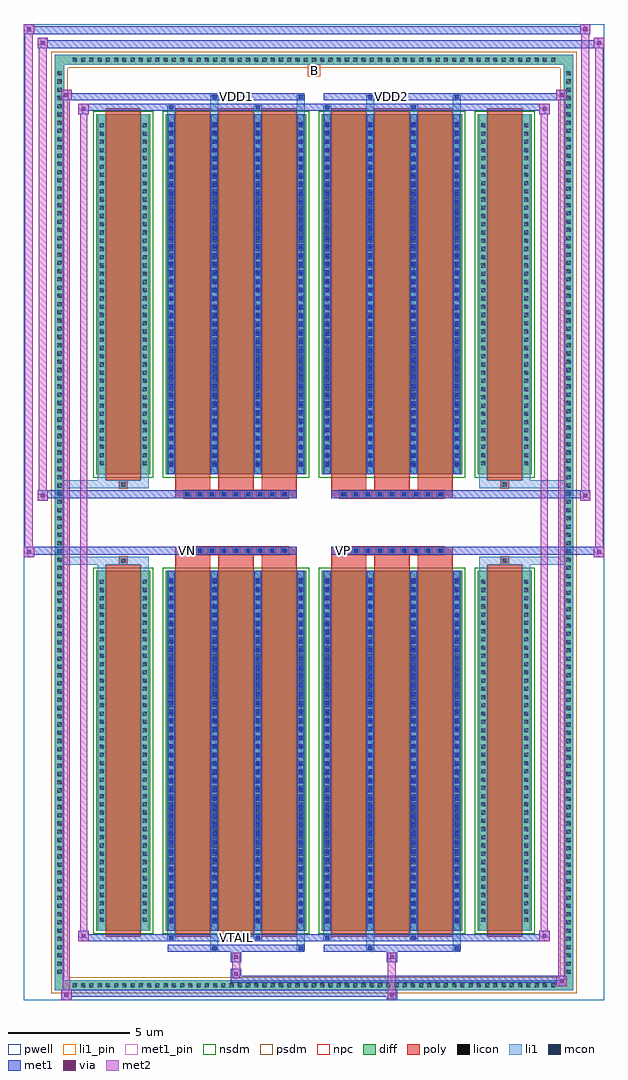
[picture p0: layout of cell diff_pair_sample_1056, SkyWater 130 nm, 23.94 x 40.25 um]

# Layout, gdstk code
import gdstk
lib = gdstk.Library(unit=1e-6, precision=5e-09)
def R(c, l, rs):  # rectangles x0, y0, x1, y1
    for r in rs: c.add(gdstk.rectangle(r[:2], r[2:], *l))
def A(c, l, x, y, w, h, nx, ny, dx, dy):  # array of equal rectangles
    R(c, l, [(x+i*dx, y+j*dy, x+i*dx+w, y+j*dy+h) for i in range(nx) for j in range(ny)])
def P(c, l, *ps):  # polygons
    for p in ps: c.add(gdstk.Polygon(p, *l))
pwell = (64, 44)
diff = (65, 20)
poly = (66, 20)
licon = (66, 44)
li1_pin = (67, 16)
li1 = (67, 20)
mcon = (67, 44)
met1_pin = (68, 16)
met1 = (68, 20)
via = (68, 44)
met2 = (69, 20)
nsdm = (93, 44)
psdm = (94, 20)
npc = (95, 20)

diff_pair_sample_1056 = lib.new_cell('diff_pair_sample_1056')
R(diff_pair_sample_1056, pwell, [(-11.97,-19.69,11.97,20.56), (-9.29,-17.88,-0.01,-0.8), (0.01,-17.88,9.29,-0.8), (-9.29,0.8,-0.01,17.88), (0.01,0.8,9.29,17.88)])
A(diff_pair_sample_1056, diff, -10.065, -19.29, 0.41, 0.41, 59, 2, 0.34, 38.17)
A(diff_pair_sample_1056, diff, -10.7, -18.735, 0.41, 0.41, 1, 110, 0, 0.34)
A(diff_pair_sample_1056, diff, 10.29, -18.735, 0.41, 0.41, 1, 110, 0, 0.34)
R(diff_pair_sample_1056, diff, [(-10.065,-19.29,10.065,-18.88), (-10.7,-18.735,-10.29,18.735), (10.29,-18.735,10.7,18.735), (-8.98,-16.835,-6.75,-1.985), (-6.11,-16.835,-0.32,-1.985), (0.32,-16.835,6.11,-1.985), (6.75,-16.835,8.98,-1.985), (-8.98,1.985,-6.75,16.835), (-6.11,1.985,-0.32,16.835), (0.32,1.985,6.11,16.835), (6.75,1.985,8.98,16.835), (-10.065,18.88,10.065,19.29)])
P(diff_pair_sample_1056, diff, [(10.7,19.29),(-10.7,19.29),(-10.7,-18.88),(-10.29,-18.88),(-10.29,18.88),(10.29,18.88),(10.29,-18.88),(-10.29,-18.88),(-10.7,-18.88),(-10.7,-19.29),(10.7,-19.29)])
A(diff_pair_sample_1056, poly, -5.72, -17.085, 1.45, 15.35, 3, 2, 1.78, 18.82)
A(diff_pair_sample_1056, poly, 0.71, -17.085, 1.45, 15.35, 3, 2, 1.78, 18.82)
A(diff_pair_sample_1056, poly, -5.72, -1.735, 1.45, 0.405, 3, 2, 1.78, 3.065)
A(diff_pair_sample_1056, poly, 0.71, -1.735, 1.45, 0.405, 3, 2, 1.78, 3.065)
A(diff_pair_sample_1056, poly, -5.38, -1.33, 0.33, 0.33, 9, 2, 0.5, 2.33)
A(diff_pair_sample_1056, poly, 1.05, -1.33, 0.33, 0.33, 9, 2, 0.5, 2.33)
R(diff_pair_sample_1056, poly, [(-8.59,-17.085,-7.14,-1.735), (7.14,-17.085,8.59,-1.735), (-8.03,-1.735,-7.7,-1.405), (-8.03,-1.735,-7.7,-1.405), (7.7,-1.735,8.03,-1.405), (7.7,-1.735,8.03,-1.405), (-5.72,-1.33,-0.71,-1), (0.71,-1.33,5.72,-1), (-5.72,1,-0.71,1.33), (0.71,1,5.72,1.33), (-8.03,1.405,-7.7,1.735), (-8.03,1.405,-7.7,1.735), (7.7,1.405,8.03,1.735), (7.7,1.405,8.03,1.735), (-8.59,1.735,-7.14,17.085), (7.14,1.735,8.59,17.085)])
A(diff_pair_sample_1056, licon, -9.945, -19.17, 0.17, 0.17, 59, 2, 0.34, 38.17)
A(diff_pair_sample_1056, licon, -10.58, -18.615, 0.17, 0.17, 1, 110, 0, 0.34)
A(diff_pair_sample_1056, licon, 10.41, -18.615, 0.17, 0.17, 1, 110, 0, 0.34)
A(diff_pair_sample_1056, licon, -8.84, -16.465, 0.17, 0.17, 1, 42, 0, 0.34)
A(diff_pair_sample_1056, licon, -7.06, -16.465, 0.17, 0.17, 1, 42, 0, 0.34)
A(diff_pair_sample_1056, licon, -5.97, -16.465, 0.17, 0.17, 4, 42, 1.78, 0.34)
A(diff_pair_sample_1056, licon, 0.46, -16.465, 0.17, 0.17, 4, 42, 1.78, 0.34)
A(diff_pair_sample_1056, licon, 6.89, -16.465, 0.17, 0.17, 1, 42, 0, 0.34)
A(diff_pair_sample_1056, licon, 8.67, -16.465, 0.17, 0.17, 1, 42, 0, 0.34)
A(diff_pair_sample_1056, licon, -5.3, -1.25, 0.17, 0.17, 9, 2, 0.5, 2.33)
A(diff_pair_sample_1056, licon, 1.13, -1.25, 0.17, 0.17, 9, 2, 0.5, 2.33)
A(diff_pair_sample_1056, licon, -8.84, 2.355, 0.17, 0.17, 1, 42, 0, 0.34)
A(diff_pair_sample_1056, licon, -7.06, 2.355, 0.17, 0.17, 1, 42, 0, 0.34)
A(diff_pair_sample_1056, licon, -5.97, 2.355, 0.17, 0.17, 4, 42, 1.78, 0.34)
A(diff_pair_sample_1056, licon, 0.46, 2.355, 0.17, 0.17, 4, 42, 1.78, 0.34)
A(diff_pair_sample_1056, licon, 6.89, 2.355, 0.17, 0.17, 1, 42, 0, 0.34)
A(diff_pair_sample_1056, licon, 8.67, 2.355, 0.17, 0.17, 1, 42, 0, 0.34)
R(diff_pair_sample_1056, licon, [(-7.95,-1.655,-7.78,-1.485), (7.78,-1.655,7.95,-1.485), (-7.95,1.485,-7.78,1.655), (7.78,1.485,7.95,1.655)])
R(diff_pair_sample_1056, li1_pin, [(-0.25,18.38,0.25,18.88)])
A(diff_pair_sample_1056, li1, -10.025, -19.25, 0.33, 0.33, 59, 2, 0.34, 38.17)
A(diff_pair_sample_1056, li1, -10.66, -18.695, 0.33, 0.33, 1, 110, 0, 0.34)
A(diff_pair_sample_1056, li1, 10.33, -18.695, 0.33, 0.33, 1, 110, 0, 0.34)
A(diff_pair_sample_1056, li1, -6.05, -16.835, 0.33, 14.85, 4, 2, 1.78, 18.82)
A(diff_pair_sample_1056, li1, 0.38, -16.835, 0.33, 14.85, 4, 2, 1.78, 18.82)
A(diff_pair_sample_1056, li1, -8.92, -16.545, 0.33, 0.33, 1, 42, 0, 0.34)
A(diff_pair_sample_1056, li1, -7.14, -16.545, 0.33, 0.33, 1, 42, 0, 0.34)
A(diff_pair_sample_1056, li1, -6.05, -16.545, 0.33, 0.33, 4, 42, 1.78, 0.34)
A(diff_pair_sample_1056, li1, 0.38, -16.545, 0.33, 0.33, 4, 42, 1.78, 0.34)
A(diff_pair_sample_1056, li1, 6.81, -16.545, 0.33, 0.33, 1, 42, 0, 0.34)
A(diff_pair_sample_1056, li1, 8.59, -16.545, 0.33, 0.33, 1, 42, 0, 0.34)
A(diff_pair_sample_1056, li1, -5.97, -16.515, 0.17, 0.17, 4, 40, 1.78, 0.36)
A(diff_pair_sample_1056, li1, -5.97, -16.515, 0.17, 14.21, 4, 2, 1.78, 18.82)
A(diff_pair_sample_1056, li1, 0.46, -16.515, 0.17, 0.17, 4, 40, 1.78, 0.36)
A(diff_pair_sample_1056, li1, 0.46, -16.515, 0.17, 14.21, 4, 2, 1.78, 18.82)
A(diff_pair_sample_1056, li1, -5.38, -1.33, 0.33, 0.33, 9, 2, 0.5, 2.33)
A(diff_pair_sample_1056, li1, 1.05, -1.33, 0.33, 0.33, 9, 2, 0.5, 2.33)
A(diff_pair_sample_1056, li1, -8.92, 2.275, 0.33, 0.33, 1, 42, 0, 0.34)
A(diff_pair_sample_1056, li1, -7.14, 2.275, 0.33, 0.33, 1, 42, 0, 0.34)
A(diff_pair_sample_1056, li1, -6.05, 2.275, 0.33, 0.33, 4, 42, 1.78, 0.34)
A(diff_pair_sample_1056, li1, 0.38, 2.275, 0.33, 0.33, 4, 42, 1.78, 0.34)
A(diff_pair_sample_1056, li1, 6.81, 2.275, 0.33, 0.33, 1, 42, 0, 0.34)
A(diff_pair_sample_1056, li1, 8.59, 2.275, 0.33, 0.33, 1, 42, 0, 0.34)
A(diff_pair_sample_1056, li1, -5.97, 2.305, 0.17, 0.17, 4, 40, 1.78, 0.36)
A(diff_pair_sample_1056, li1, 0.46, 2.305, 0.17, 0.17, 4, 40, 1.78, 0.36)
R(diff_pair_sample_1056, li1, [(-10.7,-19.29,-10.29,-18.88), (-10.7,-19.29,-10.29,-18.88), (-10.29,-19.29,10.29,-18.88), (10.29,-19.29,10.7,-18.88), (10.29,-19.29,10.7,-18.88), (-10.7,-18.88,-10.29,18.88), (10.29,-18.88,10.7,18.88), (-4.27,-17.64,-3.94,-16.835), (-4.19,-17.64,-4.02,-17.47), (-0.71,-17.64,-0.38,-16.835), (-0.63,-17.64,-0.46,-17.47), (2.16,-17.64,2.49,-16.835), (2.24,-17.64,2.41,-17.47), (5.72,-17.64,6.05,-16.835), (5.8,-17.64,5.97,-17.47), (-6.05,-17.21,-5.72,-16.835), (-5.97,-17.21,-5.8,-17.04), (-2.49,-17.21,-2.16,-16.835), (-2.41,-17.21,-2.24,-17.04), (0.38,-17.21,0.71,-16.835), (0.46,-17.21,0.63,-17.04), (3.94,-17.21,4.27,-16.835), (4.02,-17.21,4.19,-17.04), (-8.92,-16.835,-8.59,-1.985), (-7.14,-16.835,-6.81,-1.985), (6.81,-16.835,7.14,-1.985), (8.59,-16.835,8.92,-1.985), (-8.92,-1.985,-8.59,-1.405), (-7.14,-1.985,-6.81,-1.405), (6.81,-1.985,7.14,-1.405), (8.59,-1.985,8.92,-1.405), (-10.7,-1.735,-8.03,-1.405), (-8.92,-1.735,-8.03,-1.405), (-8.03,-1.735,-7.7,-1.405), (-7.7,-1.735,-6.81,-1.405), (6.81,-1.735,7.7,-1.405), (7.7,-1.735,8.03,-1.405), (7.7,-1.735,10.7,-1.405), (8.03,-1.735,8.92,-1.405), (-10.7,1.405,-8.03,1.735), (-8.92,1.405,-8.03,1.735), (-8.92,1.405,-8.59,1.985), (-8.03,1.405,-7.7,1.735), (-7.7,1.405,-6.81,1.735), (-7.14,1.405,-6.81,1.985), (6.81,1.405,7.7,1.735), (6.81,1.405,7.14,1.985), (7.7,1.405,8.03,1.735), (7.7,1.405,10.7,1.735), (8.03,1.405,8.92,1.735), (8.59,1.405,8.92,1.985), (-8.92,1.985,-8.59,16.835), (-7.14,1.985,-6.81,16.835), (6.81,1.985,7.14,16.835), (8.59,1.985,8.92,16.835), (-6.05,16.835,-5.72,17.21), (-4.27,16.835,-3.94,17.64), (-2.49,16.835,-2.16,17.21), (-0.71,16.835,-0.38,17.64), (0.38,16.835,0.71,17.21), (2.16,16.835,2.49,17.64), (3.94,16.835,4.27,17.21), (5.72,16.835,6.05,17.64), (-5.97,17.04,-5.8,17.21), (-2.41,17.04,-2.24,17.21), (0.46,17.04,0.63,17.21), (4.02,17.04,4.19,17.21), (-4.19,17.47,-4.02,17.64), (-0.63,17.47,-0.46,17.64), (2.24,17.47,2.41,17.64), (5.8,17.47,5.97,17.64), (-10.7,18.88,-10.29,19.29), (-10.7,18.88,-10.29,19.29), (-10.29,18.88,10.29,19.29), (10.29,18.88,10.7,19.29), (10.29,18.88,10.7,19.29)])
A(diff_pair_sample_1056, mcon, -5.97, -16.515, 0.17, 0.17, 4, 40, 1.78, 0.36)
A(diff_pair_sample_1056, mcon, 0.46, -16.515, 0.17, 0.17, 4, 40, 1.78, 0.36)
A(diff_pair_sample_1056, mcon, -5.3, -1.25, 0.17, 0.17, 9, 2, 0.5, 2.33)
A(diff_pair_sample_1056, mcon, 1.13, -1.25, 0.17, 0.17, 9, 2, 0.5, 2.33)
A(diff_pair_sample_1056, mcon, -5.97, 2.305, 0.17, 0.17, 4, 40, 1.78, 0.36)
A(diff_pair_sample_1056, mcon, 0.46, 2.305, 0.17, 0.17, 4, 40, 1.78, 0.36)
R(diff_pair_sample_1056, mcon, [(-4.19,-17.64,-4.02,-17.47), (-0.63,-17.64,-0.46,-17.47), (2.24,-17.64,2.41,-17.47), (5.8,-17.64,5.97,-17.47), (-5.97,-17.21,-5.8,-17.04), (-2.41,-17.21,-2.24,-17.04), (0.46,-17.21,0.63,-17.04), (4.02,-17.21,4.19,-17.04), (-5.97,17.04,-5.8,17.21), (-2.41,17.04,-2.24,17.21), (0.46,17.04,0.63,17.21), (4.02,17.04,4.19,17.21), (-4.19,17.47,-4.02,17.64), (-0.63,17.47,-0.46,17.64), (2.24,17.47,2.41,17.64), (5.8,17.47,5.97,17.64)])
R(diff_pair_sample_1056, met1_pin, [(-3.35,-17.25,-3.08,-16.98), (-5.35,-1.29,-5.08,-1.02), (1.08,-1.29,1.35,-1.02), (-3.35,17.43,-3.08,17.7), (3.08,17.43,3.35,17.7)])
A(diff_pair_sample_1056, met1, -6.03, -16.835, 0.29, 14.85, 4, 2, 1.78, 18.82)
A(diff_pair_sample_1056, met1, 0.4, -16.835, 0.29, 14.85, 4, 2, 1.78, 18.82)
A(diff_pair_sample_1056, met1, -6.03, -16.575, 0.29, 0.29, 4, 40, 1.78, 0.36)
A(diff_pair_sample_1056, met1, 0.4, -16.575, 0.29, 0.29, 4, 40, 1.78, 0.36)
A(diff_pair_sample_1056, met1, -5.36, -1.31, 0.29, 0.29, 9, 2, 0.5, 2.33)
A(diff_pair_sample_1056, met1, 1.07, -1.31, 0.29, 0.29, 9, 2, 0.5, 2.33)
A(diff_pair_sample_1056, met1, -6.03, 2.245, 0.29, 0.29, 4, 40, 1.78, 0.36)
A(diff_pair_sample_1056, met1, 0.4, 2.245, 0.29, 0.29, 4, 40, 1.78, 0.36)
R(diff_pair_sample_1056, met1, [(-10.43,-19.69,-10,-19.26), (3,-19.69,3.43,-19.26), (-10.43,-19.55,3.43,-19.26), (10,-19.12,10.43,-18.69), (-3.43,-18.98,10.43,-18.69), (-3.43,-18.84,-3,-18.41), (-3.43,-18.13,-3,-17.7), (3,-18.13,3.43,-17.7), (-6.03,-17.7,-0.4,-17.41), (-4.25,-17.7,-3.96,-17.41), (-0.69,-17.7,-0.4,-17.41), (0.4,-17.7,6.03,-17.41), (2.18,-17.7,2.47,-17.41), (5.74,-17.7,6.03,-17.41), (-9.72,-17.27,-9.29,-16.84), (-9.72,-17.27,-6.03,-16.98), (-6.03,-17.27,-5.74,-16.98), (-6.03,-17.27,-0.4,-16.98), (-2.47,-17.27,-2.18,-16.98), (-0.4,-17.27,0.4,-16.98), (0.4,-17.27,0.69,-16.98), (0.4,-17.27,6.03,-16.98), (3.96,-17.27,4.25,-16.98), (6.03,-17.27,9.72,-16.98), (9.29,-17.27,9.72,-16.84), (-11.97,-1.43,-11.54,-1), (11.54,-1.43,11.97,-1), (-11.97,-1.33,-0.71,-1), (-5.72,-1.33,-0.71,-1), (0.71,-1.33,5.72,-1), (0.71,-1.33,11.97,-1), (-11.4,0.9,-10.97,1.33), (10.97,0.9,11.4,1.33), (-11.4,1,-5.72,1.33), (-5.72,1,-0.71,1.33), (0.71,1,5.72,1.33), (5.72,1,11.4,1.33), (-9.72,16.84,-9.29,17.27), (9.29,16.84,9.72,17.27), (-9.72,16.98,-6.03,17.27), (-6.03,16.98,-5.74,17.27), (-6.03,16.98,-0.4,17.27), (-2.47,16.98,-2.18,17.27), (-0.4,16.98,0.4,17.27), (0.4,16.98,0.69,17.27), (0.4,16.98,6.03,17.27), (3.96,16.98,4.25,17.27), (6.03,16.98,9.72,17.27), (-10.43,17.41,-10,17.84), (-10.43,17.41,-6.03,17.7), (-6.03,17.41,-0.4,17.7), (-4.25,17.41,-3.96,17.7), (-0.69,17.41,-0.4,17.7), (0.4,17.41,6.03,17.7), (2.18,17.41,2.47,17.7), (5.74,17.41,6.03,17.7), (6.03,17.41,10.43,17.7), (10,17.41,10.43,17.84), (-11.4,19.56,-10.97,19.99), (-11.4,19.56,-9.29,19.89), (-9.29,19.56,9.29,19.89), (9.29,19.56,11.97,19.89), (11.54,19.56,11.97,19.99), (-11.97,20.13,-11.54,20.56), (-11.97,20.13,-9.29,20.46), (-9.29,20.13,9.29,20.46), (9.29,20.13,11.4,20.46), (10.97,20.13,11.4,20.56)])
R(diff_pair_sample_1056, via, [(-10.29,-19.55,-10.14,-19.4), (3.14,-19.55,3.29,-19.4), (10.14,-18.98,10.29,-18.83), (-3.29,-18.7,-3.14,-18.55), (-3.29,-17.99,-3.14,-17.84), (3.14,-17.99,3.29,-17.84), (-9.58,-17.13,-9.43,-16.98), (9.43,-17.13,9.58,-16.98), (-11.83,-1.29,-11.68,-1.14), (11.68,-1.29,11.83,-1.14), (-11.26,1.04,-11.11,1.19), (11.11,1.04,11.26,1.19), (-9.58,16.98,-9.43,17.13), (9.43,16.98,9.58,17.13), (-10.29,17.55,-10.14,17.7), (10.14,17.55,10.29,17.7), (-11.26,19.7,-11.11,19.85), (11.68,19.7,11.83,19.85), (-11.83,20.27,-11.68,20.42), (11.11,20.27,11.26,20.42)])
R(diff_pair_sample_1056, met2, [(-10.43,-19.69,-10,-19.26), (-10.36,-19.69,-10.07,17.84), (-10.07,-19.69,-10,-19.26), (-10.38,-19.64,-10.05,-19.31), (3.05,-19.64,3.38,-19.31), (3.05,-19.31,3.38,-18.08), (10,-19.12,10.43,-18.69), (10.07,-19.12,10.36,17.84), (10.36,-19.12,10.43,-18.69), (10.05,-19.07,10.38,-18.74), (-3.38,-18.79,-3.05,-18.46), (-3.38,-18.46,-3.05,-18.08), (-3.38,-18.08,-3.05,-17.75), (3.05,-18.08,3.38,-17.75), (-9.72,-17.27,-9.29,-16.84), (-9.65,-17.27,-9.36,17.27), (-9.36,-17.27,-9.29,-16.84), (9.29,-17.27,9.72,-16.84), (9.36,-17.27,9.65,17.27), (9.65,-17.27,9.72,-16.84), (-9.67,-17.22,-9.34,-16.89), (9.34,-17.22,9.67,-16.89), (-11.97,-1.43,-11.54,-1), (-11.92,-1.43,-11.59,20.56), (-11.59,-1.43,-11.54,-1), (11.54,-1.43,11.97,-1), (11.59,-1.43,11.92,19.99), (11.92,-1.43,11.97,-1), (-11.92,-1.38,-11.59,-1.05), (11.59,-1.38,11.92,-1.05), (-11.4,0.9,-10.97,1.33), (-11.35,0.9,-11.02,19.99), (-11.02,0.9,-10.97,1.33), (10.97,0.9,11.4,1.33), (11.02,0.9,11.35,20.56), (11.35,0.9,11.4,1.33), (-11.35,0.95,-11.02,1.28), (11.02,0.95,11.35,1.28), (-9.72,16.84,-9.29,17.27), (-9.36,16.84,-9.29,17.27), (9.29,16.84,9.72,17.27), (9.65,16.84,9.72,17.27), (-9.67,16.89,-9.34,17.22), (9.34,16.89,9.67,17.22), (-10.43,17.41,-10,17.84), (-10.07,17.41,-10,17.84), (10,17.41,10.43,17.84), (10.36,17.41,10.43,17.84), (-10.38,17.46,-10.05,17.79), (10.05,17.46,10.38,17.79), (-11.4,19.56,-10.97,19.99), (-11.02,19.56,-10.97,19.99), (11.54,19.56,11.97,19.99), (11.92,19.56,11.97,19.99), (-11.35,19.61,-11.02,19.94), (11.59,19.61,11.92,19.94), (-11.97,20.13,-11.54,20.56), (-11.59,20.13,-11.54,20.56), (10.97,20.13,11.4,20.56), (11.35,20.13,11.4,20.56), (-11.92,20.18,-11.59,20.51), (11.02,20.18,11.35,20.51)])
R(diff_pair_sample_1056, nsdm, [(-9.11,-16.965,-6.62,-1.855), (-6.24,-16.965,-0.19,-1.855), (0.19,-16.965,6.24,-1.855), (6.62,-16.965,9.11,-1.855), (-9.11,1.855,-6.62,16.965), (-6.24,1.855,-0.19,16.965), (0.19,1.855,6.24,16.965), (6.62,1.855,9.11,16.965)])
P(diff_pair_sample_1056, psdm, [(10.83,19.42),(-10.83,19.42),(-10.83,-18.75),(-10.16,-18.75),(-10.16,18.75),(10.16,18.75),(10.16,-18.75),(-10.16,-18.75),(-10.83,-18.75),(-10.83,-19.42),(10.83,-19.42)])
A(diff_pair_sample_1056, npc, -5.4, -1.35, 0.37, 0.37, 9, 2, 0.5, 2.33)
A(diff_pair_sample_1056, npc, 1.03, -1.35, 0.37, 0.37, 9, 2, 0.5, 2.33)
R(diff_pair_sample_1056, npc, [(-8.05,-1.755,-7.68,-1.385), (7.68,-1.755,8.05,-1.385), (-5.4,-1.35,-4.53,-0.98), (-5.4,-1.35,-4.53,-0.98), (-4.9,-1.35,-4.03,-0.98), (-4.9,-1.35,-4.03,-0.98), (-4.4,-1.35,-3.53,-0.98), (-4.4,-1.35,-3.53,-0.98), (-3.9,-1.35,-3.03,-0.98), (-3.9,-1.35,-3.03,-0.98), (-3.4,-1.35,-2.53,-0.98), (-3.4,-1.35,-2.53,-0.98), (-2.9,-1.35,-2.03,-0.98), (-2.9,-1.35,-2.03,-0.98), (-2.4,-1.35,-1.53,-0.98), (-2.4,-1.35,-1.53,-0.98), (-1.9,-1.35,-1.03,-0.98), (-1.9,-1.35,-1.03,-0.98), (1.03,-1.35,1.9,-0.98), (1.03,-1.35,1.9,-0.98), (1.53,-1.35,2.4,-0.98), (1.53,-1.35,2.4,-0.98), (2.03,-1.35,2.9,-0.98), (2.03,-1.35,2.9,-0.98), (2.53,-1.35,3.4,-0.98), (2.53,-1.35,3.4,-0.98), (3.03,-1.35,3.9,-0.98), (3.03,-1.35,3.9,-0.98), (3.53,-1.35,4.4,-0.98), (3.53,-1.35,4.4,-0.98), (4.03,-1.35,4.9,-0.98), (4.03,-1.35,4.9,-0.98), (4.53,-1.35,5.4,-0.98), (4.53,-1.35,5.4,-0.98), (-5.4,0.98,-4.53,1.35), (-5.4,0.98,-4.53,1.35), (-4.9,0.98,-4.03,1.35), (-4.9,0.98,-4.03,1.35), (-4.4,0.98,-3.53,1.35), (-4.4,0.98,-3.53,1.35), (-3.9,0.98,-3.03,1.35), (-3.9,0.98,-3.03,1.35), (-3.4,0.98,-2.53,1.35), (-3.4,0.98,-2.53,1.35), (-2.9,0.98,-2.03,1.35), (-2.9,0.98,-2.03,1.35), (-2.4,0.98,-1.53,1.35), (-2.4,0.98,-1.53,1.35), (-1.9,0.98,-1.03,1.35), (-1.9,0.98,-1.03,1.35), (1.03,0.98,1.9,1.35), (1.03,0.98,1.9,1.35), (1.53,0.98,2.4,1.35), (1.53,0.98,2.4,1.35), (2.03,0.98,2.9,1.35), (2.03,0.98,2.9,1.35), (2.53,0.98,3.4,1.35), (2.53,0.98,3.4,1.35), (3.03,0.98,3.9,1.35), (3.03,0.98,3.9,1.35), (3.53,0.98,4.4,1.35), (3.53,0.98,4.4,1.35), (4.03,0.98,4.9,1.35), (4.03,0.98,4.9,1.35), (4.53,0.98,5.4,1.35), (4.53,0.98,5.4,1.35), (-8.05,1.385,-7.68,1.755), (7.68,1.385,8.05,1.755)])
diff_pair_sample_1056.add(gdstk.Label('VTAIL', (-3.215,-17.115), layer=68, texttype=5))
diff_pair_sample_1056.add(gdstk.Label('VN', (-5.215,-1.155), layer=68, texttype=5))
diff_pair_sample_1056.add(gdstk.Label('VP', (1.215,-1.155), layer=68, texttype=5))
diff_pair_sample_1056.add(gdstk.Label('B', (0,18.63), layer=67, texttype=5))
diff_pair_sample_1056.add(gdstk.Label('VDD2', (3.215,17.565), layer=68, texttype=5))
diff_pair_sample_1056.add(gdstk.Label('VDD1', (-3.215,17.565), layer=68, texttype=5))

lib.write_gds('diff_pair_sample_1056.gds')
